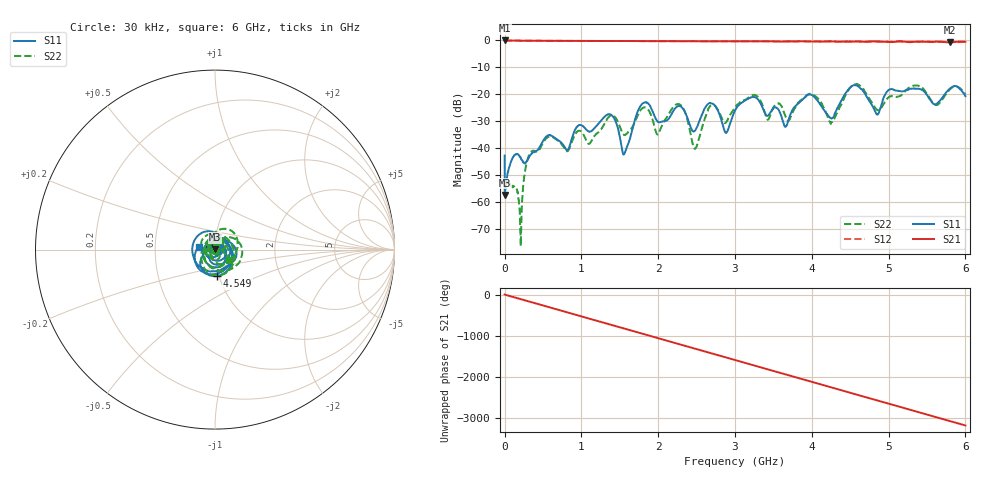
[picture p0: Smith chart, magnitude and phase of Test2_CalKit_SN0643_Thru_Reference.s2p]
! Touchstone 1.1 file saved by VNA QT V0.2.3.0
! Sun Jul 18 21:03:59 2021
! HEWLETT PACKARD,8753D,0,6.14 OPT: 002 006 010
! IF bandwidth: 3000 Hz
! Output power level: 0.000000 dBm
! Smoothing OFF
! Averaging OFF
! Correction ON
! Params: S11 S21 S12 S22
! Start frequency: 0.000030000 GHz
! Stop frequency:  6.000000000 GHz
! Points: 1601
# HZ S DB R 50
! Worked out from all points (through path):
!   1601 points, 30 kHz to 6 GHz, reference 50 ohm
!   highest |S21| = 0.01 dB at 30 kHz (marker M1); lowest = -0.7 dB at 5.801 GHz (marker M2)
!   group delay of S21, straight-line fit = 1.48 ns
!   lowest |S11| = -57.5 dB at 3.78 MHz (marker M3), VSWR 1.00, Z = 50.1 + j0.0717 ohm
!   |S11| at or under -10 dB: start of sweep to end of sweep
!   |S22| runs from -76.6 to -16.2 dB; largest |S21 - S12| = 0.045
!   S11 on the Smith chart (normalised r, x): 30 kHz: 1.01, -0.01; 4.549 GHz: 0.98, -0.29; 6 GHz: 0.83, +0.02
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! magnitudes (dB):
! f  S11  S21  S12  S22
! 30 kHz  -42.8  0.0  0.0  -51.1
! 3.78 MHz  -57.5  0.0  0.0  -57.8
! 206.3 MHz  -43.4  -0.1  -0.1  -71.8
! 341.3 MHz  -42.4  -0.1  -0.1  -41.5
! 1.001 GHz  -31.5  -0.2  -0.2  -34.0
! 1.384 GHz  -27.6  -0.2  -0.2  -27.9
! 1.556 GHz  -42.3  -0.2  -0.2  -35.2
! 1.796 GHz  -23.4  -0.2  -0.2  -25.1
! 2.003 GHz  -30.4  -0.2  -0.2  -34.8
! 2.276 GHz  -24.4  -0.3  -0.2  -23.8
! 2.483 GHz  -33.4  -0.3  -0.3  -40.2
! 2.681 GHz  -23.3  -0.3  -0.3  -24.3
! 2.88 GHz  -34.4  -0.3  -0.3  -30.6
! 3 GHz  -26.0  -0.3  -0.2  -24.8
! 3.66 GHz  -32.0  -0.3  -0.3  -28.5
! 4.001 GHz  -20.3  -0.4  -0.4  -19.9
! 4.256 GHz  -29.0  -0.3  -0.4  -30.4
! 4.549 GHz  -16.6  -0.4  -0.3  -16.4
! 4.849 GHz  -27.6  -0.4  -0.4  -25.8
! 5.003 GHz  -18.4  -0.5  -0.5  -21.1
! 5.801 GHz  -17.8  -0.7  -0.4  -18.1
! 6 GHz  -20.7  -0.5  -0.4  -20.0
